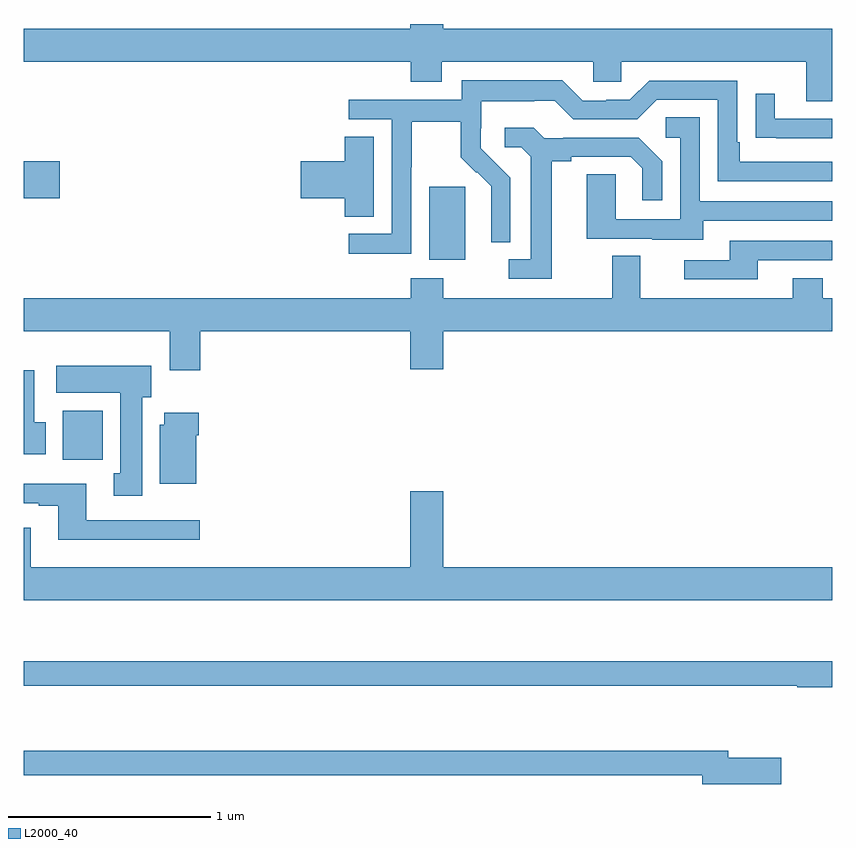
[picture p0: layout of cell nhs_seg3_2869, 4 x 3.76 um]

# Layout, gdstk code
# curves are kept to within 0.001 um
import gdstk
lib = gdstk.Library(unit=1e-6, precision=1e-09)
def R(c, l, rs):  # rectangles x0, y0, x1, y1
    for r in rs: c.add(gdstk.rectangle(r[:2], r[2:], *l))
def P(c, l, *ps):  # polygons
    for p in ps: c.add(gdstk.Polygon(p, *l))
L2000_40 = (2000, 40)

nhs_seg3_2869 = lib.new_cell('nhs_seg3_2869')
R(nhs_seg3_2869, L2000_40, [(259.193,736.244,259.39,736.486), (261.005,737.234,261.184,737.595), (259,737.537,259.177,737.72)])
P(nhs_seg3_2869, L2000_40, [(263,738.376),(261.076,738.376),(261.076,738.4),(260.912,738.4),(260.912,738.376),(259,738.376),(259,738.212),(260.915,738.212),(260.915,738.113),(261.067,738.113),(261.067,738.212),(261.819,738.212),(261.819,738.114),(261.957,738.114),(261.957,738.212),(262.871,738.212),(262.871,738.018),(263,738.018)],
  [(260.916,737.692),(260.919,737.692),(260.919,737.916),(261.163,737.916),(261.163,737.741),(261.24,737.664),(261.243,737.667),(261.314,737.597),(261.314,737.474),(261.312,737.474),(261.312,737.32),(261.408,737.32),(261.408,737.638),(261.262,737.786),(261.262,737.883),(261.264,737.883),(261.264,738.017),(261.527,738.017),(261.527,738.021),(261.627,738.021),(261.72,737.928),(262.035,737.928),(262.131,738.024),(262.434,738.024),(262.434,737.622),(263,737.622),(263,737.718),(262.543,737.718),(262.543,737.815),(262.53,737.815),(262.53,738.12),(262.095,738.12),(261.999,738.024),(261.881,738.024),(261.881,738.021),(261.765,738.021),(261.665,738.121),(261.168,738.121),(261.168,738.024),(260.607,738.024),(260.607,737.928),(260.82,737.928),(260.82,737.361),(260.607,737.361),(260.607,737.263),(260.916,737.263)],
  [(263,737.931),(262.717,737.931),(262.717,738.055),(262.621,738.055),(262.621,737.836),(262.723,737.836),(262.723,737.835),(263,737.835)],
  [(262.363,737.427),(263,737.427),(263,737.523),(262.344,737.523),(262.344,737.939),(262.176,737.939),(262.176,737.838),(262.248,737.838),(262.248,737.433),(261.93,737.433),(261.93,737.657),(261.785,737.657),(261.785,737.337),(262.109,737.337),(262.109,737.333),(262.363,737.333)],
  [(261.613,737.72),(261.709,737.72),(261.709,737.742),(262.004,737.742),(262.061,737.685),(262.061,737.529),(262.158,737.529),(262.158,737.722),(262.042,737.838),(261.67,737.838),(261.67,737.835),(261.576,737.835),(261.524,737.887),(261.381,737.887),(261.381,737.79),(261.462,737.79),(261.509,737.743),(261.509,737.235),(261.399,737.235),(261.399,737.139),(261.613,737.139)],
  [(260.731,737.843),(260.588,737.843),(260.588,737.72),(260.37,737.72),(260.37,737.537),(260.588,737.537),(260.588,737.446),(260.731,737.446)],
  [(262.633,737.232),(263,737.232),(263,737.328),(262.493,737.328),(262.493,737.232),(262.269,737.232),(262.269,737.136),(262.633,737.136)],
  [(259.874,736.88),(260.912,736.88),(260.912,736.692),(261.076,736.692),(261.076,736.88),(263,736.88),(263,737.044),(262.953,737.044),(262.953,737.143),(262.805,737.143),(262.805,737.044),(262.051,737.044),(262.051,737.252),(261.911,737.252),(261.911,737.044),(261.075,737.044),(261.075,737.143),(260.915,737.143),(260.915,737.044),(259,737.044),(259,736.88),(259.721,736.88),(259.721,736.686),(259.874,736.686)],
  [(259.585,736.554),(259.63,736.554),(259.63,736.708),(259.161,736.708),(259.161,736.574),(259.478,736.574),(259.478,736.178),(259.445,736.178),(259.445,736.065),(259.585,736.065)],
  [(259.108,736.428),(259.051,736.428),(259.051,736.687),(259,736.687),(259,736.272),(259.108,736.272)],
  [(259.852,736.364),(259.865,736.364),(259.865,736.477),(259.694,736.477),(259.694,736.416),(259.673,736.416),(259.673,736.124),(259.852,736.124)],
  [(259.87,735.945),(259.309,735.945),(259.309,736.126),(259,736.126),(259,736.029),(259.073,736.029),(259.073,736.017),(259.169,736.017),(259.169,735.848),(259.87,735.848)],
  [(263,735.712),(261.076,735.712),(261.076,736.087),(260.912,736.087),(260.912,735.712),(259.033,735.712),(259.033,735.907),(259,735.907),(259,735.548),(263,735.548)],
  [(263,735.247),(259,735.247),(259,735.126),(262.828,735.126),(262.828,735.118),(263,735.118)],
  [(262.747,734.769),(262.486,734.769),(262.486,734.803),(259,734.803),(259,734.682),(262.358,734.682),(262.358,734.639),(262.747,734.639)])

lib.write_gds('nhs_seg3_2869.gds')
